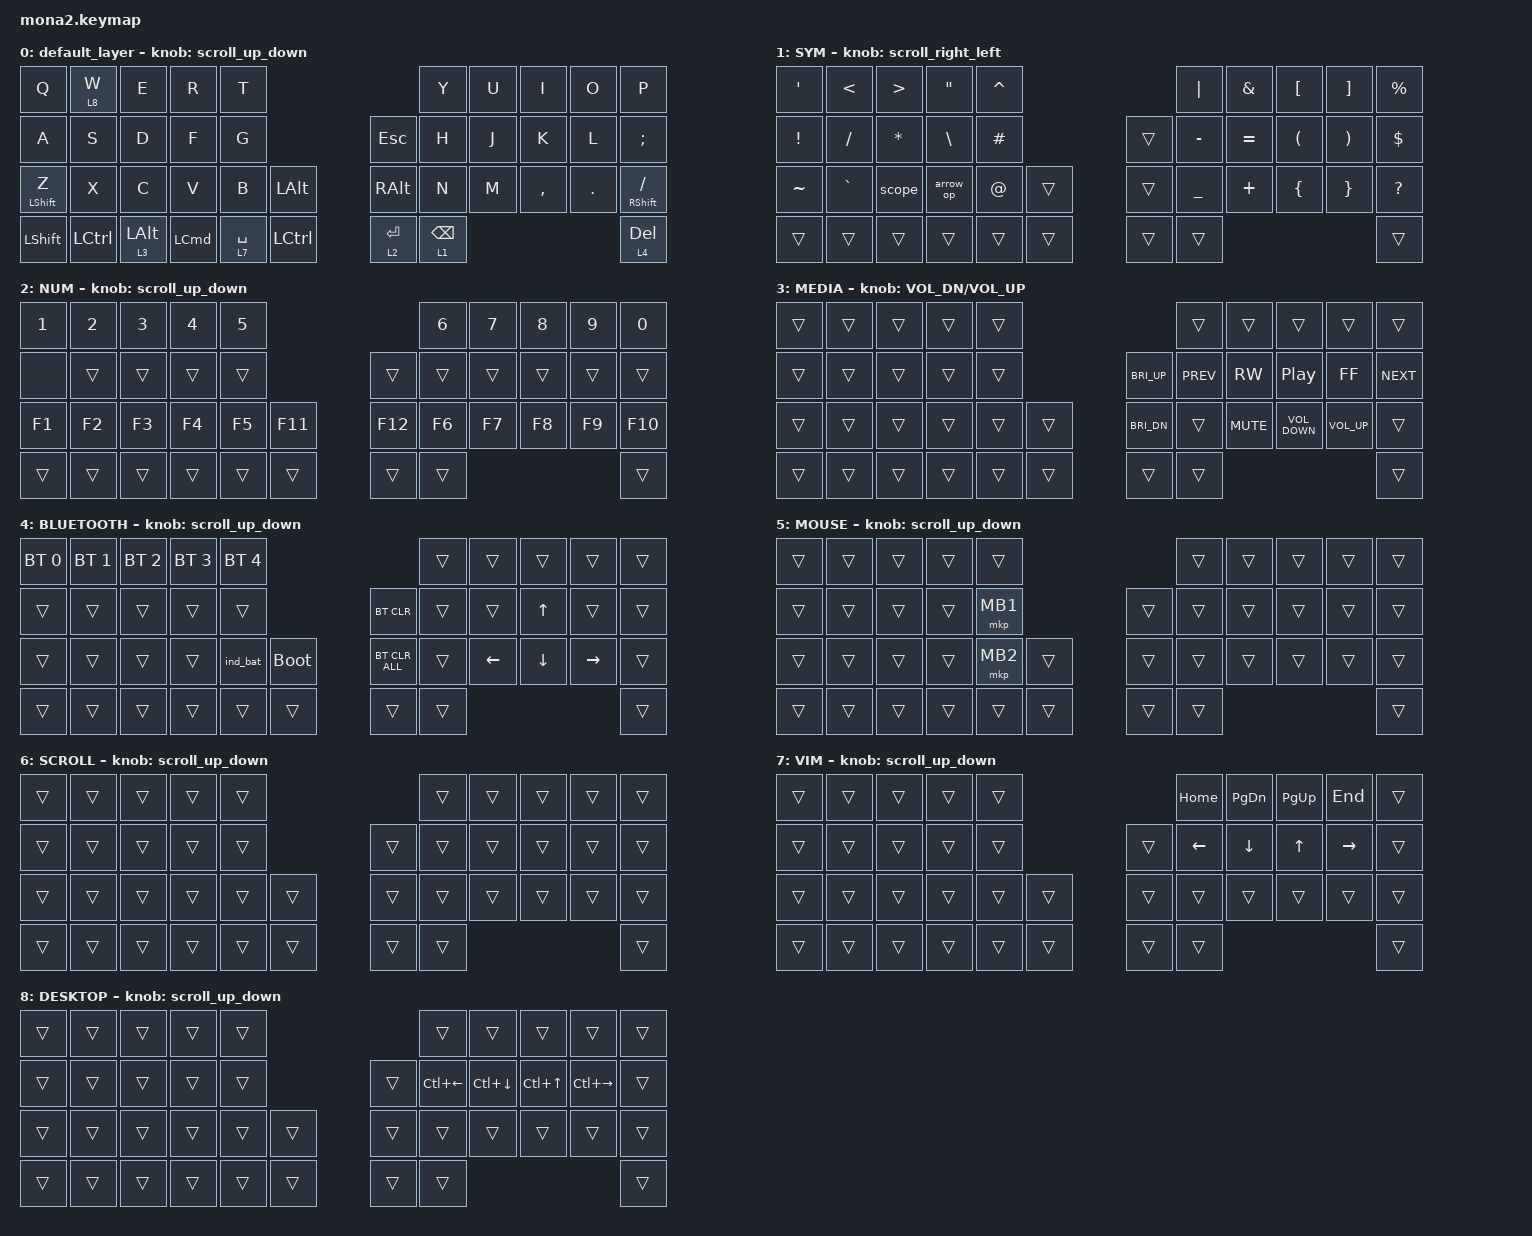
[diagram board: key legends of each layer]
#include <input/processors.dtsi>
#include <dt-bindings/zmk/input_transform.h>
#include <zephyr/dt-bindings/input/input-event-codes.h>
#include <behaviors.dtsi>
#include <behaviors/rgbled_widget.dtsi>
#include <dt-bindings/zmk/bt.h>
#include <dt-bindings/zmk/keys.h>
#include <dt-bindings/zmk/pointing.h>

#define ZMK_POINTING_DEFAULT_SCRL_VAL 200  // Encoder每次捲動量（預設100，為4K螢幕加倍）
#define MOUSE 5    // 滑鼠層（軌跡球自動切層目標）
#define SCROLL 6   // 捲動層（軌跡球變捲輪）
#define VIM 7      // Vim方向鍵層（H/J/K/L）
#define DESKTOP 8  // 桌面切換層（長按W啟用）

&mt {
    flavor = "balanced";
    quick-tap-ms = <0>;
    require-prior-idle-ms = <150>;   // 打字快時直接判定tap，消除黏滯感
};

&lt {
    tapping-term-ms = <200>;
    quick-tap-ms = <200>;
    flavor = "balanced";
};

// 點完滑鼠鍵後 250ms 退出 MOUSE 層（快速回到打字模式）
&mkp_input_listener { input-processors = <&zip_temp_layer MOUSE 250>; };

/ {
    combos {
        compatible = "zmk,combos";

        layer4_ESC {
            bindings = <&lt 4 ESC>;
            key-positions = <39 38>;  // 右手拇指兩鍵同按
        };

        tab {
            bindings = <&kp TAB>;
            key-positions = <1 2>;    // W+E 同按 = Tab
            slow-release;
        };

        enter {
            bindings = <&kp ENTER>;
            key-positions = <17 18>;  // J+K 同按 = Enter
            slow-release;
        };

        input_switch {
            bindings = <&input_tap>;
            key-positions = <11 12>;  // S+D 同按 = 切換輸入法
            slow-release;
        };
    };

    macros {
        to_layer_0: to_layer_0 {
            compatible = "zmk,behavior-macro-one-param";
            #binding-cells = <1>;
            bindings = <&to 0 &macro_param_1to1 &kp MACRO_PLACEHOLDER>;
            label = "TO_LAYER_0";
        };

        scope: scope {  // C++ ::
            compatible = "zmk,behavior-macro";
            #binding-cells = <0>;
            bindings = <&kp LS(SEMICOLON) &kp LS(SEMICOLON)>;
            label = "SCOPE_RESOLUTION";
        };

        arrow_op: arrow_op {  // C++ ->
            compatible = "zmk,behavior-macro";
            #binding-cells = <0>;
            bindings = <&kp MINUS &kp LS(DOT)>;
            label = "ARROW_OPERATOR";
        };

        input_tap: input_tap {  // Ctrl+Space 單次點按，不會因按住而重複
            compatible = "zmk,behavior-macro";
            #binding-cells = <0>;
            bindings = <&macro_tap &kp LC(SPACE)>;
            label = "INPUT_TAP";
        };
    };

    behaviors {
        lt_to_layer_0: lt_to_layer_0 {
            compatible = "zmk,behavior-hold-tap";
            label = "LAYER_TAP_TO_0";
            bindings = <&mo>, <&to_layer_0>;

            #binding-cells = <2>;
            tapping-term-ms = <200>;
        };

        scroll_up_down: mouse_wheel_up_down {
            compatible = "zmk,behavior-sensor-rotate";
            #sensor-binding-cells = <0>;
            bindings = <&msc SCRL_UP>, <&msc SCRL_DOWN>;  // 順時針=上捲，逆時針=下捲（配合macOS自然捲動）

            tap-ms = <20>;
        };

        scroll_right_left: mouse_wheel_right_left {
            compatible = "zmk,behavior-sensor-rotate";
            #sensor-binding-cells = <0>;
            bindings = <&msc SCRL_LEFT>, <&msc SCRL_RIGHT>;  // SYM層時encoder變水平捲動

            tap-ms = <20>;
        };
    };

    keymap {
        compatible = "zmk,keymap";

        default_layer {
            bindings = <
&kp Q             &lt 8 W    &kp E           &kp R             &kp T                                                &kp Y            &kp U  &kp I      &kp O    &kp P
&kp A             &kp S      &kp D           &kp F             &kp G                        &kp ESCAPE              &kp H            &kp J  &kp K      &kp L    &kp SEMICOLON
&mt LEFT_SHIFT Z  &kp X      &kp C           &kp V             &kp B        &kp LEFT_ALT    &kp RIGHT_ALT           &kp N            &kp M  &kp COMMA  &kp DOT  &mt RIGHT_SHIFT SLASH
&kp LEFT_SHIFT    &kp LCTRL  &lt 3 LEFT_ALT  &kp LEFT_COMMAND  &lt 7 SPACE  &kp LCTRL       &lt_to_layer_0 2 ENTER  &lt 1 BACKSPACE                             &lt 4 DELETE
            >;

            sensor-bindings = <&scroll_up_down>;
        };

        SYM {
            bindings = <
&kp SINGLE_QUOTE  &kp LESS_THAN  &kp GREATER_THAN  &kp DOUBLE_QUOTES  &kp CARET                      &kp PIPE        &kp AMPERSAND  &kp LEFT_BRACKET      &kp RIGHT_BRACKET      &kp PERCENT
&kp EXCLAMATION   &kp SLASH      &kp ASTRK         &kp BACKSLASH      &kp HASH               &trans  &kp MINUS       &kp EQUAL      &kp LEFT_PARENTHESIS  &kp RIGHT_PARENTHESIS  &kp DOLLAR
&kp TILDE         &kp GRAVE      &scope            &arrow_op          &kp AT_SIGN  &trans    &trans  &kp UNDERSCORE  &kp PLUS       &kp LEFT_BRACE        &kp RIGHT_BRACE        &kp QUESTION
&trans            &trans         &trans            &trans             &trans       &trans    &trans  &trans                                                                      &trans
            >;

            sensor-bindings = <&scroll_right_left>;
        };

        NUM {
            bindings = <
&kp NUMBER_1  &kp NUMBER_2  &kp NUMBER_3  &kp NUMBER_4  &kp NUMBER_5                      &kp NUMBER_6  &kp NUMBER_7  &kp NUMBER_8  &kp NUMBER_9  &kp N0
&none         &trans        &trans        &trans        &trans                   &trans   &trans        &trans        &trans        &trans        &trans
&kp F1        &kp F2        &kp F3        &kp F4        &kp F5        &kp F11    &kp F12  &kp F6        &kp F7        &kp F8        &kp F9        &kp F10
&trans        &trans        &trans        &trans        &trans        &trans     &trans   &trans                                                  &trans
            >;

            sensor-bindings = <&scroll_up_down>;
        };

        MEDIA {
            bindings = <
&trans  &trans  &trans  &trans  &trans                          &trans      &trans      &trans             &trans           &trans
&trans  &trans  &trans  &trans  &trans            &kp C_BRI_UP  &kp C_PREV  &kp C_RW    &kp C_PLAY_PAUSE   &kp C_FF         &kp C_NEXT
&trans  &trans  &trans  &trans  &trans  &trans    &kp C_BRI_DN  &trans      &kp C_MUTE  &kp C_VOLUME_DOWN  &kp C_VOLUME_UP  &trans
&trans  &trans  &trans  &trans  &trans  &trans    &trans        &trans                                                      &trans
            >;

            sensor-bindings = <&inc_dec_kp C_VOL_DN C_VOL_UP>;
        };

        BLUETOOTH {
            bindings = <
&bt BT_SEL 0  &bt BT_SEL 1  &bt BT_SEL 2  &bt BT_SEL 3  &bt BT_SEL 4                                 &trans        &trans        &trans        &trans        &trans
&trans        &trans        &trans        &trans        &trans                       &bt BT_CLR      &trans        &trans        &kp UP        &trans        &trans
&trans        &trans        &trans        &trans        &ind_bat      &bootloader    &bt BT_CLR_ALL  &trans        &kp LEFT      &kp DOWN      &kp RIGHT     &trans
&trans        &trans        &trans        &trans        &trans        &trans         &trans          &trans                                                  &trans
            >;

            sensor-bindings = <&scroll_up_down>;
        };

        MOUSE {  // 軌跡球移動時自動切換到此層，G=左鍵、B=右鍵
            bindings = <
&trans  &trans  &trans  &trans  &trans                       &trans  &trans  &trans  &trans  &trans
&trans  &trans  &trans  &trans  &mkp MB1             &trans  &trans  &trans  &trans  &trans  &trans
&trans  &trans  &trans  &trans  &mkp MB2  &trans     &trans  &trans  &trans  &trans  &trans  &trans
&trans  &trans  &trans  &trans  &trans    &trans     &trans  &trans                          &trans
            >;

            sensor-bindings = <&scroll_up_down>;
        };

        SCROLL {  // 軌跡球變捲輪模式（在MOUSE層按住mo 6觸發）
            bindings = <
&trans  &trans  &trans  &trans  &trans                    &trans  &trans  &trans  &trans  &trans
&trans  &trans  &trans  &trans  &trans            &trans  &trans  &trans  &trans  &trans  &trans
&trans  &trans  &trans  &trans  &trans  &trans    &trans  &trans  &trans  &trans  &trans  &trans
&trans  &trans  &trans  &trans  &trans  &trans    &trans  &trans                          &trans
            >;

            sensor-bindings = <&scroll_up_down>;
        };

        VIM {  // 按住Space啟用，H=左 J=下 K=上 L=右（Vim風格方向鍵）
            bindings = <
&trans  &trans  &trans  &trans  &trans                    &kp HOME  &kp PAGE_DOWN  &kp PAGE_UP  &kp END    &trans
&trans  &trans  &trans  &trans  &trans            &trans  &kp LEFT  &kp DOWN       &kp UP       &kp RIGHT  &trans
&trans  &trans  &trans  &trans  &trans  &trans    &trans  &trans    &trans    &trans  &trans     &trans
&trans  &trans  &trans  &trans  &trans  &trans    &trans  &trans                                 &trans
            >;

            sensor-bindings = <&scroll_up_down>;
        };

        DESKTOP {  // 長按W啟用，H=切左桌面 L=切右桌面（macOS Ctrl+Left/Right）
            bindings = <
&trans  &trans  &trans  &trans  &trans                    &trans        &trans  &trans  &trans         &trans
&trans  &trans  &trans  &trans  &trans            &trans  &kp LC(LEFT)  &kp LC(DOWN)  &kp LC(UP)  &kp LC(RIGHT)  &trans
&trans  &trans  &trans  &trans  &trans  &trans    &trans  &trans        &trans  &trans  &trans         &trans
&trans  &trans  &trans  &trans  &trans  &trans    &trans  &trans                                       &trans
            >;

            sensor-bindings = <&scroll_up_down>;
        };
    };
};
